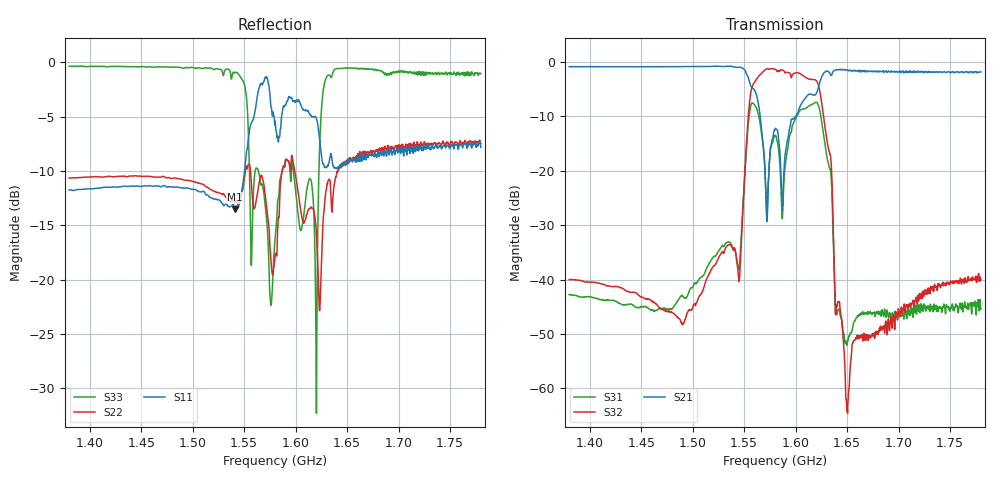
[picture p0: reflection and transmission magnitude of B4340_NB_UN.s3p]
! Matrix data file written by TouchstoneData, EPCOS AG
! FILENAME: "AB81A_X22Y20_NB.pli.snp"
! COMMENT: "(TS/AB81A_X22Y20_NB.s3p) Epcos AG 10/2/2013"
! INFO: nport=3, nfreq=1601
! DATE: "Wed Oct  9 11:09:52 2013"
! USER: "Wee Chuan Tay"
! port | pin | signal
!  1  |  3  |  Non-GPS
!  2  |  6  |  Antenna
!  3  |  1  |  GPS
# MHZ S RI R 50
! freq  reS11 imS11  reS12 imS12  reS13 imS13  ...
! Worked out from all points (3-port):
!   1601 points, 1.38 GHz to 1.78 GHz, reference 50 ohm
!   strongest paths, dB at 1.38 GHz, 1.48 GHz, 1.58 GHz, 1.68 GHz, 1.78 GHz:
!     S21: -0.9, -0.9, -12.5, -1.8, -1.8
!     S32: -40.0, -46.1, -1.3, -50.1, -40.0
!     S31: -42.8, -45.4, -13.7, -45.9, -45.4
!   lowest |S11| = -13.5 dB at 1.541 GHz (marker M1), VSWR 1.54, Z = 34.5 - j9.12 ohm
!   |S11| at or under -10 dB: start of sweep to 1.55 GHz
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1380  0.199 -0.1649  0.8904 0.1642  -0.00163 0.00709
      0.8904 0.1642  -0.1659 -0.2423  0.00948 -0.00315
      -0.00163 0.00709  0.00948 -0.00315  -0.2189 -0.9336
1540.75  -0.1692 -0.1261  0.7566 -0.4807  -0.0192 0.00305
         0.7566 -0.4807  -0.1204 -0.1925  -0.0191 -0.000235
         -0.0192 0.00305  -0.0191 -0.000235  -0.8708 -0.2141
1557  -0.0483 0.5229  0.2414 -0.5389  -0.4071 0.0587
      0.2414 -0.5389  -0.2149 -0.1788  -0.4543 -0.3213
      -0.4071 0.0587  -0.4543 -0.3213  0.0976 -0.0636
1569.75  0.83 -0.0798  -0.0131 -0.1227  0.107 0.0657
         -0.0131 -0.1227  -0.2076 -0.1593  -0.1716 0.8182
         0.107 0.0657  -0.1716 0.8182  -0.2243 0.0775
1580  -0.35 -0.4015  0.2379 0.000487  0.1074 0.177
      0.2379 0.000487  -0.0149 -0.1273  0.6635 0.544
      0.1074 0.177  0.6635 0.544  0.1235 -0.0921
1587.25  0.1654 0.577  0.0392 0.0181  0.0199 0.0309
         0.0392 0.0181  -0.000444 -0.3202  0.8414 0.0631
         0.0199 0.0309  0.8414 0.0631  0.0394 -0.3208
1604.75  0.5747 -0.2828  0.2149 0.3358  0.3632 -0.0136
         0.2149 0.3358  -0.1573 -0.1413  0.162 -0.7596
         0.3632 -0.0136  0.162 -0.7596  -0.0373 0.1647
1623  0.1759 -0.4274  0.3141 0.5377  -0.3369 -0.1652
      0.3141 0.5377  -0.0221 0.0709  -0.4868 0.2973
      -0.3369 -0.1652  -0.4868 0.2973  0.1861 0.3086
1650.25  0.2326 -0.2538  0.7657 0.3541  -0.00252 -0.000679
         0.7657 0.3541  0.0647 -0.3507  0.0005 -0.00039
         -0.00252 -0.000679  0.0005 -0.00039  0.5636 -0.7587
1780  0.1757 -0.3669  0.8082 0.0601  -0.0012 0.00521
      0.8082 0.0601  -0.1111 -0.4072  0.00971 -0.00217
      -0.0012 0.00521  0.00971 -0.00217  -0.0366 -0.8889
